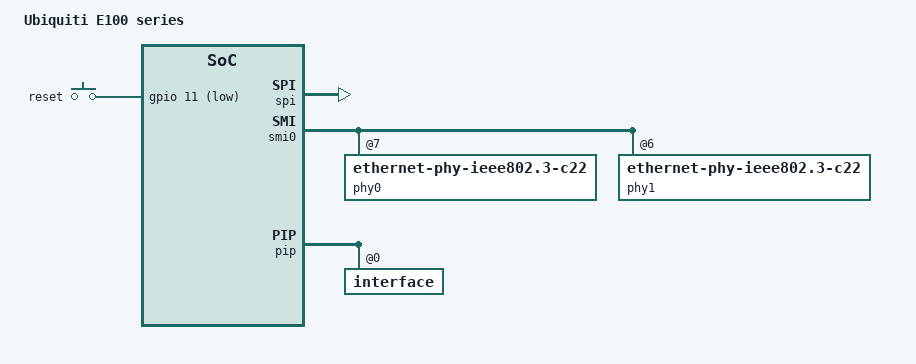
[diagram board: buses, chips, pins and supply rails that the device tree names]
// SPDX-License-Identifier: GPL-2.0-only
/*
 * Device tree source for Ubiquiti E100-based devices.
 *
 * Based on EdgeRouter Lite devicetree by: Aaro Koskinen <aaro.koskinen@iki.fi>
 */

#include "cn50xx.dtsi"
#include <dt-bindings/gpio/gpio.h>
#include <dt-bindings/input/input.h>

/ {
	compatible = "ubnt,e100";
	model = "Ubiquiti E100 series";

	keys {
		compatible = "gpio-keys-polled";
		poll-interval = <20>;

		key-restart {
			label = "reset";
			linux,code = <KEY_RESTART>;
			gpios = <&gpio 11 GPIO_ACTIVE_LOW>;
			debounce-interval = <60>;
		};
	};
};

&spi {
	status = "okay";
};

&smi0 {
	phy0: ethernet-phy@7 {
		reg = <7>;
		compatible = "ethernet-phy-ieee802.3-c22";
	};

	phy1: ethernet-phy@6 {
		reg = <6>;
		compatible = "ethernet-phy-ieee802.3-c22";
	};

	/* The rest of the PHY are different depending on the sub-model */
};

&pip {
	interface@0 {
		eth0: ethernet@0 {
			phy-handle = <&phy0>;
			rx-delay = <0>;
			tx-delay = <0x10>;

			nvmem-cells = <&macaddr_eeprom_0 0>;
			nvmem-cell-names = "mac-address";
		};

		eth1: ethernet@1 {
			phy-handle = <&phy1>;
			rx-delay = <0>;
			tx-delay = <0x10>;

			nvmem-cells = <&macaddr_eeprom_0 1>;
			nvmem-cell-names = "mac-address";
		};

		/* The rest of the ports are different depending on the sub-model */
	};
};

&uart0 {
	clock-frequency = <500000000>;
};

&flash0 {
	partitions {
		compatible = "fixed-partitions";
		#address-cells = <1>;
		#size-cells = <1>;

		partition@0 {
			reg = <0x00000 0x80000>;
			label = "boot0";
			read-only;
		};

		partition@80000 {
			reg = <0x80000 0x80000>;
			label = "boot1";
			read-only;
		};

		partition@100000 {
			/* size is submodel-dependent */
			label = "eeprom";
			read-only;

			nvmem-layout {
				compatible = "fixed-layout";
				#address-cells = <1>;
				#size-cells = <1>;

				macaddr_eeprom_0: mac-address@0 {
					reg = <0x0 0x6>;
					compatible = "mac-base";
					#nvmem-cell-cells = <1>;
				};

				macaddr_eeprom_1: mac-address@6 {
					reg = <0x6 0x6>;
					compatible = "mac-base";
					#nvmem-cell-cells = <1>;
				};
			};
		};
	};
};

&usbn {
	refclk-frequency = <12000000>;
	refclk-type = "crystal";
};
